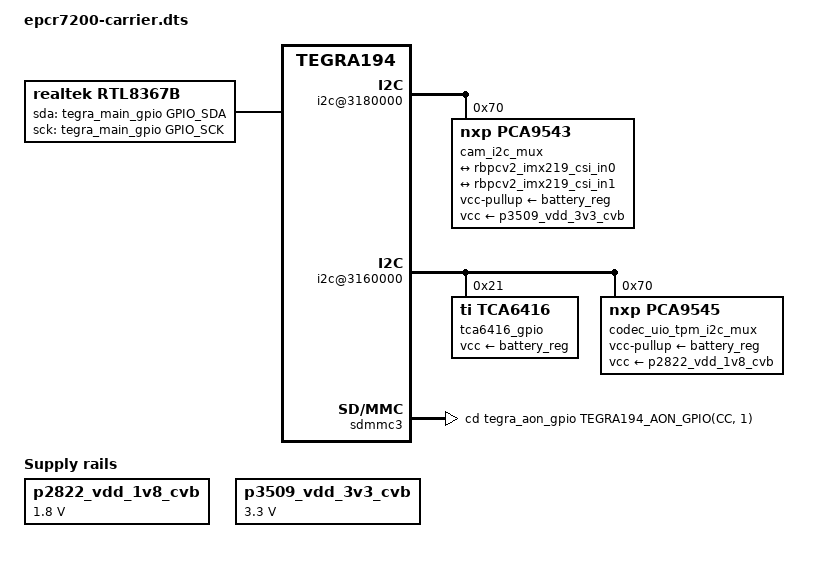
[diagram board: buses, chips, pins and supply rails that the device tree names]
/*
 * Top level DTS file for CVM:P3668-0001 and CVB:P3509-0000.
 *
 * Copyright (c) 2019-2020, NVIDIA CORPORATION.  All rights reserved.
 *
 * This program is free software; you can redistribute it and/or modify
 * it under the terms of the GNU General Public License as published by
 * the Free Software Foundation; version 2 of the License.
 *
 * This program is distributed in the hope that it will be useful, but WITHOUT
 * ANY WARRANTY; without even the implied warranty of MERCHANTABILITY or
 * FITNESS FOR A PARTICULAR PURPOSE.  See the GNU General Public License for
 * more details.
 */

/dts-v1/;
#include "common/tegra194-p3668-common.dtsi"
#include "common/tegra194-p3509-0000-a00.dtsi"

/ {
	nvidia,dtsfilename = __FILE__;
	nvidia,dtbbuildtime = __DATE__, __TIME__;

	compatible = "nvidia,p3449-0000+p3668-0000", "nvidia,p3449-0000+p3668-0001", "nvidia,p3509-0000+p3668-0000", "nvidia,p3509-0000+p3668-0001", "nvidia,tegra194";

	#define GPIO_SDA TEGRA194_MAIN_GPIO(H, 1)
	#define GPIO_SCK TEGRA194_MAIN_GPIO(Q, 2)

	rtl8367 {
		compatible = "realtek,rtl8367b";
		pinctrl-names = "default";
		pinctrl-0 = <&pinctrl_rtl>;
		gpio-sda = <&tegra_main_gpio GPIO_SDA GPIO_ACTIVE_HIGH>; //GPIO3_PH.01
		gpio-sck = <&tegra_main_gpio GPIO_SCK GPIO_ACTIVE_HIGH>; //GPIO3_PQ.02
		realtek,extif0 = <1 0 1 1 1 1 1 1 2>;
	};

	pinmux@2430000 {
		pinctrl_rtl: pinctrl_rtl {
			soc_gpio13_ph1 {
				nvidia,pins = "soc_gpio13_ph1";
				nvidia,function = "rsvd0";
				nvidia,pull = <TEGRA_PIN_PULL_NONE>;
				nvidia,tristate = <TEGRA_PIN_DISABLE>;
				nvidia,enable-input = <TEGRA_PIN_DISABLE>;
				nvidia,lpdr = <TEGRA_PIN_DISABLE>;
			};
			soc_gpio22_pq2 {
				nvidia,pins = "soc_gpio22_pq2";
				nvidia,function = "rsvd0";
				nvidia,pull = <TEGRA_PIN_PULL_NONE>;
				nvidia,tristate = <TEGRA_PIN_DISABLE>;
				nvidia,enable-input = <TEGRA_PIN_DISABLE>;
				nvidia,lpdr = <TEGRA_PIN_DISABLE>;
			};

			spi1_sck_pz3 {
				nvidia,pins = "spi1_sck_pz3";
				nvidia,function = "spi1";
				nvidia,pull = <TEGRA_PIN_PULL_NONE>;
				nvidia,tristate = <TEGRA_PIN_DISABLE>;
				nvidia,enable-input = <TEGRA_PIN_ENABLE>;
			};

			spi1_miso_pz4 {
				nvidia,pins = "spi1_miso_pz4";
				nvidia,function = "spi1";
				nvidia,pull = <TEGRA_PIN_PULL_NONE>;
				nvidia,tristate = <TEGRA_PIN_DISABLE>;
				nvidia,enable-input = <TEGRA_PIN_ENABLE>;
			};

			spi1_mosi_pz5 {
				nvidia,pins = "spi1_mosi_pz5";
				nvidia,function = "spi1";
				nvidia,pull = <TEGRA_PIN_PULL_NONE>;
				nvidia,tristate = <TEGRA_PIN_DISABLE>;
				nvidia,enable-input = <TEGRA_PIN_ENABLE>;
			};

			spi1_cs0_pz6 {
				nvidia,pins = "spi1_cs0_pz6";
				nvidia,function = "spi1";
				nvidia,pull = <TEGRA_PIN_PULL_NONE>;
				nvidia,tristate = <TEGRA_PIN_DISABLE>;
				nvidia,enable-input = <TEGRA_PIN_ENABLE>;
			};

			spi1_cs1_pz7 {
				nvidia,pins = "spi1_cs1_pz7";
				nvidia,function = "spi1";
				nvidia,pull = <TEGRA_PIN_PULL_NONE>;
				nvidia,tristate = <TEGRA_PIN_DISABLE>;
				nvidia,enable-input = <TEGRA_PIN_ENABLE>;
			};

			spi3_sck_py0 {
				nvidia,pins = "spi3_sck_py0";
				nvidia,function = "spi3";
				nvidia,pull = <TEGRA_PIN_PULL_NONE>;
				nvidia,tristate = <TEGRA_PIN_DISABLE>;
				nvidia,enable-input = <TEGRA_PIN_ENABLE>;
			};

			spi3_miso_py1 {
				nvidia,pins = "spi3_miso_py1";
				nvidia,function = "spi3";
				nvidia,pull = <TEGRA_PIN_PULL_NONE>;
				nvidia,tristate = <TEGRA_PIN_DISABLE>;
				nvidia,enable-input = <TEGRA_PIN_ENABLE>;
			};

			spi3_mosi_py2 {
				nvidia,pins = "spi3_mosi_py2";
				nvidia,function = "spi3";
				nvidia,pull = <TEGRA_PIN_PULL_NONE>;
				nvidia,tristate = <TEGRA_PIN_DISABLE>;
				nvidia,enable-input = <TEGRA_PIN_ENABLE>;
			};

			spi3_cs0_py3 {
				nvidia,pins = "spi3_cs0_py3";
				nvidia,function = "spi3";
				nvidia,pull = <TEGRA_PIN_PULL_NONE>;
				nvidia,tristate = <TEGRA_PIN_DISABLE>;
				nvidia,enable-input = <TEGRA_PIN_ENABLE>;
			};

			spi3_cs1_py4 {
				nvidia,pins = "spi3_cs1_py4";
				nvidia,function = "spi3";
				nvidia,pull = <TEGRA_PIN_PULL_NONE>;
				nvidia,tristate = <TEGRA_PIN_DISABLE>;
				nvidia,enable-input = <TEGRA_PIN_ENABLE>;
			};
		};
	};

	#define CAM0_PWDN TEGRA194_MAIN_GPIO(P, 4)
	#define CAM1_PWDN TEGRA194_MAIN_GPIO(P, 5)

	i2c@3180000 {
		cam_i2c_mux: cam_i2c_mux@70 {
			compatible = "nxp,pca9543";
			reg = <0x70>;
			#address-cells = <1>;
			#size-cells = <0>;
			vcc-pullup-supply = <&battery_reg>;
			vcc-supply = <&p3509_vdd_3v3_cvb>;
			status = "okay";

			cmux_i2c_0:cmux_i2c_0@0 {
				reg = <0>;
				#address-cells = <1>;
				#size-cells = <0>;
				i2c-mux,deselect-on-exit;
				cam_imx219_cam0: cam_rbpcv2_imx219_a@10 {
					compatible = "nvidia,imx219";
					/* I2C device address */
					reg = <0x10>;

					/* V4L2 device node location */
					devnode = "video0";

					/* Physical dimensions of sensor */
					physical_w = "3.680";
					physical_h = "2.760";

					sensor_model = "imx219";

					use_sensor_mode_id = "true";
					reset-gpios = <&tegra_main_gpio CAM0_PWDN GPIO_ACTIVE_HIGH>;
					/**
					* ==== Modes ====
					* A modeX node is required to support v4l2 driver
					* implementation with NVIDIA camera software stack
					*
					* == Signal properties ==
					*
					* phy_mode = "";
					* PHY mode used by the MIPI lanes for this device
					*
					* tegra_sinterface = "";
					* CSI Serial interface connected to tegra
					* Incase of virtual HW devices, use virtual
					* For SW emulated devices, use host
					*
					* pix_clk_hz = "";
					* Sensor pixel clock used for calculations like exposure and framerate
					*
					* readout_orientation = "0";
					* Based on camera module orientation.
					* Only change readout_orientation if you specifically
					* Program a different readout order for this mode
					*
					* == Image format Properties ==
					*
					* active_w = "";
					* Pixel active region width
					*
					* active_h = "";
					* Pixel active region height
					*
					* pixel_t = "";
					* The sensor readout pixel pattern
					*
					* line_length = "";
					* Pixel line length (width) for sensor mode.
					*
					* == Source Control Settings ==
					*
					* Gain factor used to convert fixed point integer to float
					* Gain range [min_gain/gain_factor, max_gain/gain_factor]
					* Gain step [step_gain/gain_factor is the smallest step that can be configured]
					* Default gain [Default gain to be initialized for the control.
					*     use min_gain_val as default for optimal results]
					* Framerate factor used to convert fixed point integer to float
					* Framerate range [min_framerate/framerate_factor, max_framerate/framerate_factor]
					* Framerate step [step_framerate/framerate_factor is the smallest step that can be configured]
					* Default Framerate [Default framerate to be initialized for the control.
					*     use max_framerate to get required performance]
					* Exposure factor used to convert fixed point integer to float
					* For convenience use 1 sec = 1000000us as conversion factor
					* Exposure range [min_exp_time/exposure_factor, max_exp_time/exposure_factor]
					* Exposure step [step_exp_time/exposure_factor is the smallest step that can be configured]
					* Default Exposure Time [Default exposure to be initialized for the control.
					*     Set default exposure based on the default_framerate for optimal exposure settings]
					*
					* gain_factor = ""; (integer factor used for floating to fixed point conversion)
					* min_gain_val = ""; (ceil to integer)
					* max_gain_val = ""; (ceil to integer)
					* step_gain_val = ""; (ceil to integer)
					* default_gain = ""; (ceil to integer)
					* Gain limits for mode
					*
					* exposure_factor = ""; (integer factor used for floating to fixed point conversion)
					* min_exp_time = ""; (ceil to integer)
					* max_exp_time = ""; (ceil to integer)
					* step_exp_time = ""; (ceil to integer)
					* default_exp_time = ""; (ceil to integer)
					* Exposure Time limits for mode (sec)
					*
					* framerate_factor = ""; (integer factor used for floating to fixed point conversion)
					* min_framerate = ""; (ceil to integer)
					* max_framerate = ""; (ceil to integer)
					* step_framerate = ""; (ceil to integer)
					* default_framerate = ""; (ceil to integer)
					* Framerate limits for mode (fps)
					*
					* embedded_metadata_height = "";
					* Sensor embedded metadata height in units of rows.
					* If sensor does not support embedded metadata value should be 0.
					*/
					mode0 { /* IMX219_MODE_3264x2464_21FPS */
						mclk_khz = "24000";
						num_lanes = "2";
						tegra_sinterface = "serial_a";
						phy_mode = "DPHY";
						discontinuous_clk = "yes";
						dpcm_enable = "false";
						cil_settletime = "0";

						active_w = "3264";
						active_h = "2464";
						pixel_t = "bayer_rggb";
						readout_orientation = "90";
						line_length = "3448";
						inherent_gain = "1";
						mclk_multiplier = "9.33";
						pix_clk_hz = "182400000";

						gain_factor = "16";
						framerate_factor = "1000000";
						exposure_factor = "1000000";
						min_gain_val = "16"; /* 1.00x */
						max_gain_val = "170"; /* 10.66x */
						step_gain_val = "1";
						default_gain = "16"; /* 1.00x */
						min_hdr_ratio = "1";
						max_hdr_ratio = "1";
						min_framerate = "2000000"; /* 2.0 fps */
						max_framerate = "21000000"; /* 21.0 fps */
						step_framerate = "1";
						default_framerate = "21000000"; /* 21.0 fps */
						min_exp_time = "13"; /* us */
						max_exp_time = "683709"; /* us */
						step_exp_time = "1";
						default_exp_time = "2495"; /* us */

						embedded_metadata_height = "2";
					};
					mode1 { /* IMX219_MODE_3264x1848_28FPS */
						mclk_khz = "24000";
						num_lanes = "2";
						tegra_sinterface = "serial_a";
						phy_mode = "DPHY";
						discontinuous_clk = "yes";
						dpcm_enable = "false";
						cil_settletime = "0";

						active_w = "3264";
						active_h = "1848";
						pixel_t = "bayer_rggb";
						readout_orientation = "90";
						line_length = "3448";
						inherent_gain = "1";
						mclk_multiplier = "9.33";
						pix_clk_hz = "182400000";

						gain_factor = "16";
						framerate_factor = "1000000";
						exposure_factor = "1000000";
						min_gain_val = "16"; /* 1.00x */
						max_gain_val = "170"; /* 10.66x */
						step_gain_val = "1";
						default_gain = "16"; /* 1.00x */
						min_hdr_ratio = "1";
						max_hdr_ratio = "1";
						min_framerate = "2000000"; /* 2.0 fps */
						max_framerate = "28000000"; /* 28.0 fps */
						step_framerate = "1";
						default_framerate = "28000000"; /* 28.0 fps */
						min_exp_time = "13"; /* us */
						max_exp_time = "683709"; /* us */
						step_exp_time = "1";
						default_exp_time = "2495"; /* us */

						embedded_metadata_height = "2";
					};
					mode2 { /* IMX219_MODE_1920x1080_30FPS */
						mclk_khz = "24000";
						num_lanes = "2";
						tegra_sinterface = "serial_a";
						phy_mode = "DPHY";
						discontinuous_clk = "yes";
						dpcm_enable = "false";
						cil_settletime = "0";

						active_w = "1920";
						active_h = "1080";
						pixel_t = "bayer_rggb";
						readout_orientation = "90";
						line_length = "3448";
						inherent_gain = "1";
						mclk_multiplier = "9.33";
						pix_clk_hz = "182400000";

						gain_factor = "16";
						framerate_factor = "1000000";
						exposure_factor = "1000000";
						min_gain_val = "16"; /* 1.00x */
						max_gain_val = "170"; /* 10.66x */
						step_gain_val = "1";
						default_gain = "16"; /* 1.00x */
						min_hdr_ratio = "1";
						max_hdr_ratio = "1";
						min_framerate = "2000000"; /* 2.0 fps */
						max_framerate = "30000000"; /* 30.0 fps */
						step_framerate = "1";
						default_framerate = "30000000"; /* 30.0 fps */
						min_exp_time = "13"; /* us */
						max_exp_time = "683709"; /* us */
						step_exp_time = "1";
						default_exp_time = "2495"; /* us */

						embedded_metadata_height = "2";
					};

					mode3 { /* IMX219_MODE_1640x1232_30FPS */
						mclk_khz = "24000";
						num_lanes = "2";
						tegra_sinterface = "serial_a";
						phy_mode = "DPHY";
						discontinuous_clk = "yes";
						dpcm_enable = "false";
						cil_settletime = "0";

						active_w = "1640";
						active_h = "1232";
						pixel_t = "bayer_rggb";
						readout_orientation = "90";
						line_length = "3448";
						inherent_gain = "1";
						mclk_multiplier = "9.33";
						pix_clk_hz = "182400000";

						gain_factor = "16";
						framerate_factor = "1000000";
						exposure_factor = "1000000";
						min_gain_val = "16"; /* 1.00x */
						max_gain_val = "170"; /* 10.66x */
						step_gain_val = "1";
						default_gain = "16"; /* 1.00x */
						min_hdr_ratio = "1";
						max_hdr_ratio = "1";
						min_framerate = "2000000"; /* 2.0 fps */
						max_framerate = "30000000"; /* 60.0 fps */
						step_framerate = "1";
						default_framerate = "30000000"; /* 60.0 fps */
						min_exp_time = "13"; /* us */
						max_exp_time = "683709"; /* us */
						step_exp_time = "1";
						default_exp_time = "2495"; /* us */

						embedded_metadata_height = "2";
					};

					mode4 { /* IMX219_MODE_1280x720_60FPS */
						mclk_khz = "24000";
						num_lanes = "2";
						tegra_sinterface = "serial_a";
						phy_mode = "DPHY";
						discontinuous_clk = "yes";
						dpcm_enable = "false";
						cil_settletime = "0";

						active_w = "1280";
						active_h = "720";
						pixel_t = "bayer_rggb";
						readout_orientation = "90";
						line_length = "3448";
						inherent_gain = "1";
						mclk_multiplier = "9.33";
						pix_clk_hz = "182400000";

						gain_factor = "16";
						framerate_factor = "1000000";
						exposure_factor = "1000000";
						min_gain_val = "16"; /* 1.00x */
						max_gain_val = "170"; /* 10.66x */
						step_gain_val = "1";
						default_gain = "16"; /* 1.00x */
						min_hdr_ratio = "1";
						max_hdr_ratio = "1";
						min_framerate = "2000000"; /* 2.0 fps */
						max_framerate = "60000000"; /* 60.0 fps */
						step_framerate = "1";
						default_framerate = "60000000"; /* 60.0 fps */
						min_exp_time = "13"; /* us */
						max_exp_time = "683709"; /* us */
						step_exp_time = "1";
						default_exp_time = "2495"; /* us */

						embedded_metadata_height = "2";
					};
					/*
					*mode5 {  IMX219_MODE_1280x720_120FPS
						* mclk_khz = "24000";
						* num_lanes = "2";
						* tegra_sinterface = "serial_a";
						* phy_mode = "DPHY";
						* discontinuous_clk = "yes";
						* dpcm_enable = "false";
						* cil_settletime = "0";

						* active_w = "1280";
						* active_h = "720";
						* pixel_t = "bayer_rggb";
						* readout_orientation = "90";
						* line_length = "3560";
						* inherent_gain = "1";
						* mclk_multiplier = "9.33";
						* pix_clk_hz = "169600000";

						* gain_factor = "16";
						* framerate_factor = "1000000";
						* exposure_factor = "1000000";
						* min_gain_val = "16"; // 1.00x
						* max_gain_val = "170"; // 10.66x
						* step_gain_val = "1";
						* default_gain = "16"; // 1.00x
						* min_hdr_ratio = "1";
						* max_hdr_ratio = "1";
						* min_framerate = "2000000"; // 2.0 fps
						* max_framerate = "120000000"; // 120.0 fps
						* step_framerate = "1";
						* default_framerate = "120000000"; // 120.0 fps
						* min_exp_time = "13"; // us
						* max_exp_time = "683709"; // us
						* step_exp_time = "1";
						* default_exp_time = "2495"; // us

						* embedded_metadata_height = "2";
					*};
					*/

					ports {
						#address-cells = <1>;
						#size-cells = <0>;
						port@0 {
							reg = <0>;
							cam_rbpcv2_imx219_out0: endpoint {
								port-index = <0>;
								bus-width = <2>;
								remote-endpoint = <&rbpcv2_imx219_csi_in0>;
							};
						};
					};
				};
			};
			cmux_i2c_1: cmux_i2c_1@1 {
				reg = <1>;
				#address-cells = <1>;
				#size-cells = <0>;
				i2c-mux,deselect-on-exit;
				cam_imx219_cam1: cam_rbpcv2_imx219_c@10 {
					compatible = "nvidia,imx219";
					/* I2C device address */
					reg = <0x10>;

					/* V4L2 device node location */
					devnode = "video1";

					/* Physical dimensions of sensor */
					physical_w = "3.680";
					physical_h = "2.760";

					sensor_model = "imx219";

					use_sensor_mode_id = "true";
					reset-gpios = <&tegra_main_gpio CAM1_PWDN GPIO_ACTIVE_HIGH>;
					/**
					* ==== Modes ====
					* A modeX node is required to support v4l2 driver
					* implementation with NVIDIA camera software stack
					*
					* == Signal properties ==
					*
					* phy_mode = "";
					* PHY mode used by the MIPI lanes for this device
					*
					* tegra_sinterface = "";
					* CSI Serial interface connected to tegra
					* Incase of virtual HW devices, use virtual
					* For SW emulated devices, use host
					*
					* pix_clk_hz = "";
					* Sensor pixel clock used for calculations like exposure and framerate
					*
					* readout_orientation = "0";
					* Based on camera module orientation.
					* Only change readout_orientation if you specifically
					* Program a different readout order for this mode
					*
					* == Image format Properties ==
					*
					* active_w = "";
					* Pixel active region width
					*
					* active_h = "";
					* Pixel active region height
					*
					* pixel_t = "";
					* The sensor readout pixel pattern
					*
					* line_length = "";
					* Pixel line length (width) for sensor mode.
					*
					* == Source Control Settings ==
					*
					* Gain factor used to convert fixed point integer to float
					* Gain range [min_gain/gain_factor, max_gain/gain_factor]
					* Gain step [step_gain/gain_factor is the smallest step that can be configured]
					* Default gain [Default gain to be initialized for the control.
					*     use min_gain_val as default for optimal results]
					* Framerate factor used to convert fixed point integer to float
					* Framerate range [min_framerate/framerate_factor, max_framerate/framerate_factor]
					* Framerate step [step_framerate/framerate_factor is the smallest step that can be configured]
					* Default Framerate [Default framerate to be initialized for the control.
					*     use max_framerate to get required performance]
					* Exposure factor used to convert fixed point integer to float
					* For convenience use 1 sec = 1000000us as conversion factor
					* Exposure range [min_exp_time/exposure_factor, max_exp_time/exposure_factor]
					* Exposure step [step_exp_time/exposure_factor is the smallest step that can be configured]
					* Default Exposure Time [Default exposure to be initialized for the control.
					*     Set default exposure based on the default_framerate for optimal exposure settings]
					*
					* gain_factor = ""; (integer factor used for floating to fixed point conversion)
					* min_gain_val = ""; (ceil to integer)
					* max_gain_val = ""; (ceil to integer)
					* step_gain_val = ""; (ceil to integer)
					* default_gain = ""; (ceil to integer)
					* Gain limits for mode
					*
					* exposure_factor = ""; (integer factor used for floating to fixed point conversion)
					* min_exp_time = ""; (ceil to integer)
					* max_exp_time = ""; (ceil to integer)
					* step_exp_time = ""; (ceil to integer)
					* default_exp_time = ""; (ceil to integer)
					* Exposure Time limits for mode (sec)
					*
					* framerate_factor = ""; (integer factor used for floating to fixed point conversion)
					* min_framerate = ""; (ceil to integer)
					* max_framerate = ""; (ceil to integer)
					* step_framerate = ""; (ceil to integer)
					* default_framerate = ""; (ceil to integer)
					* Framerate limits for mode (fps)
					*
					* embedded_metadata_height = "";
					* Sensor embedded metadata height in units of rows.
					* If sensor does not support embedded metadata value should be 0.
					*/
					mode0 { /* IMX219_MODE_3264x2464_21FPS */
						mclk_khz = "24000";
						num_lanes = "2";
						tegra_sinterface = "serial_c";
						phy_mode = "DPHY";
						discontinuous_clk = "yes";
						dpcm_enable = "false";
						cil_settletime = "0";

						active_w = "3264";
						active_h = "2464";
						pixel_t = "bayer_rggb";
						readout_orientation = "90";
						line_length = "3448";
						inherent_gain = "1";
						mclk_multiplier = "9.33";
						pix_clk_hz = "182400000";

						gain_factor = "16";
						framerate_factor = "1000000";
						exposure_factor = "1000000";
						min_gain_val = "16"; /* 1.00x */
						max_gain_val = "170"; /* 10.66x */
						step_gain_val = "1";
						default_gain = "16"; /* 1.00x */
						min_hdr_ratio = "1";
						max_hdr_ratio = "1";
						min_framerate = "2000000"; /* 2.0 fps */
						max_framerate = "21000000"; /* 21.0 fps */
						step_framerate = "1";
						default_framerate = "21000000"; /* 21.0 fps */
						min_exp_time = "13"; /* us */
						max_exp_time = "683709"; /* us */
						step_exp_time = "1";
						default_exp_time = "2495"; /* us */

						embedded_metadata_height = "2";
					};
					mode1 { /* IMX219_MODE_3264x1848_28FPS */
						mclk_khz = "24000";
						num_lanes = "2";
						tegra_sinterface = "serial_c";
						phy_mode = "DPHY";
						discontinuous_clk = "yes";
						dpcm_enable = "false";
						cil_settletime = "0";

						active_w = "3264";
						active_h = "1848";
						pixel_t = "bayer_rggb";
						readout_orientation = "90";
						line_length = "3448";
						inherent_gain = "1";
						mclk_multiplier = "9.33";
						pix_clk_hz = "182400000";

						gain_factor = "16";
						framerate_factor = "1000000";
						exposure_factor = "1000000";
						min_gain_val = "16"; /* 1.00x */
						max_gain_val = "170"; /* 10.66x */
						step_gain_val = "1";
						default_gain = "16"; /* 1.00x */
						min_hdr_ratio = "1";
						max_hdr_ratio = "1";
						min_framerate = "2000000"; /* 2.0 fps */
						max_framerate = "28000000"; /* 28.0 fps */
						step_framerate = "1";
						default_framerate = "28000000"; /* 28.0 fps */
						min_exp_time = "13"; /* us */
						max_exp_time = "683709"; /* us */
						step_exp_time = "1";
						default_exp_time = "2495"; /* us */

						embedded_metadata_height = "2";
					};
					mode2 { /* IMX219_MODE_1920x1080_30FPS */
						mclk_khz = "24000";
						num_lanes = "2";
						tegra_sinterface = "serial_c";
						phy_mode = "DPHY";
						discontinuous_clk = "yes";
						dpcm_enable = "false";
						cil_settletime = "0";

						active_w = "1920";
						active_h = "1080";
						pixel_t = "bayer_rggb";
						readout_orientation = "90";
						line_length = "3448";
						inherent_gain = "1";
						mclk_multiplier = "9.33";
						pix_clk_hz = "182400000";

						gain_factor = "16";
						framerate_factor = "1000000";
						exposure_factor = "1000000";
						min_gain_val = "16"; /* 1.00x */
						max_gain_val = "170"; /* 10.66x */
						step_gain_val = "1";
						default_gain = "16"; /* 1.00x */
						min_hdr_ratio = "1";
						max_hdr_ratio = "1";
						min_framerate = "2000000"; /* 2.0 fps */
						max_framerate = "30000000"; /* 30.0 fps */
						step_framerate = "1";
						default_framerate = "30000000"; /* 30.0 fps */
						min_exp_time = "13"; /* us */
						max_exp_time = "683709"; /* us */
						step_exp_time = "1";
						default_exp_time = "2495"; /* us */

						embedded_metadata_height = "2";
					};
					mode3 { /* IMX219_MODE_1640x1232_30FPS */
						mclk_khz = "24000";
						num_lanes = "2";
						tegra_sinterface = "serial_c";
						phy_mode = "DPHY";
						discontinuous_clk = "yes";
						dpcm_enable = "false";
						cil_settletime = "0";

						active_w = "1640";
						active_h = "1232";
						pixel_t = "bayer_rggb";
						readout_orientation = "90";
						line_length = "3448";
						inherent_gain = "1";
						mclk_multiplier = "9.33";
						pix_clk_hz = "182400000";

						gain_factor = "16";
						framerate_factor = "1000000";
						exposure_factor = "1000000";
						min_gain_val = "16"; /* 1.00x */
						max_gain_val = "170"; /* 10.66x */
						step_gain_val = "1";
						default_gain = "16"; /* 1.00x */
						min_hdr_ratio = "1";
						max_hdr_ratio = "1";
						min_framerate = "2000000"; /* 2.0 fps */
						max_framerate = "30000000"; /* 60.0 fps */
						step_framerate = "1";
						default_framerate = "30000000"; /* 60.0 fps */
						min_exp_time = "13"; /* us */
						max_exp_time = "683709"; /* us */
						step_exp_time = "1";
						default_exp_time = "2495"; /* us */

						embedded_metadata_height = "2";
					};
					mode4 { /* IMX219_MODE_1280x720_60FPS */
						mclk_khz = "24000";
						num_lanes = "2";
						tegra_sinterface = "serial_c";
						phy_mode = "DPHY";
						discontinuous_clk = "yes";
						dpcm_enable = "false";
						cil_settletime = "0";

						active_w = "1280";
						active_h = "720";
						pixel_t = "bayer_rggb";
						readout_orientation = "90";
						line_length = "3448";
						inherent_gain = "1";
						mclk_multiplier = "9.33";
						pix_clk_hz = "182400000";

						gain_factor = "16";
						framerate_factor = "1000000";
						exposure_factor = "1000000";
						min_gain_val = "16"; /* 1.00x */
						max_gain_val = "170"; /* 10.66x */
						step_gain_val = "1";
						default_gain = "16"; /* 1.00x */
						min_hdr_ratio = "1";
						max_hdr_ratio = "1";
						min_framerate = "2000000"; /* 2.0 fps */
						max_framerate = "60000000"; /* 60.0 fps */
						step_framerate = "1";
						default_framerate = "60000000"; /* 60.0 fps */
						min_exp_time = "13"; /* us */
						max_exp_time = "683709"; /* us */
						step_exp_time = "1";
						default_exp_time = "2495"; /* us */

						embedded_metadata_height = "2";
					};
					/*
					*mode5 { // IMX219_MODE_1280x720_120FPS
					*	mclk_khz = "24000";
					*	num_lanes = "2";
					*	tegra_sinterface = "serial_c";
					*	phy_mode = "DPHY";
					*	discontinuous_clk = "yes";
					*	dpcm_enable = "false";
					*	cil_settletime = "0";

					*	active_w = "1280";
					*	active_h = "720";
					*	pixel_t = "bayer_rggb";
					*	readout_orientation = "90";
					*	line_length = "3560";
					*	inherent_gain = "1";
					*	mclk_multiplier = "9.33";
					*	pix_clk_hz = "169600000";

					*	gain_factor = "16";
					*	framerate_factor = "1000000";
					*	exposure_factor = "1000000";
					*	min_gain_val = "16"; // 1.00x
					*	max_gain_val = "170"; // 10.66x
					*	step_gain_val = "1";
					*	default_gain = "16"; // 1.00x
					*	min_hdr_ratio = "1";
					*	max_hdr_ratio = "1";
					*	min_framerate = "2000000"; // 2.0 fps
					*	max_framerate = "120000000"; // 120.0 fps
					*	step_framerate = "1";
					*	default_framerate = "120000000"; // 120.0 fps
					*	min_exp_time = "13"; // us
					*	max_exp_time = "683709"; // us
					*	step_exp_time = "1";
					*	default_exp_time = "2495"; // us

					*	embedded_metadata_height = "2";
					*};
					*/

					ports {
						#address-cells = <1>;
						#size-cells = <0>;
						port@0 {
							reg = <0>;
							cam_rbpcv2_imx219_out1: endpoint {
								status = "okay";
								port-index = <2>;
								bus-width = <2>;
								remote-endpoint = <&rbpcv2_imx219_csi_in1>;
							};
						};
					};
				};
			};
		};
	};

	i2c@3160000 {
		tca6416_gpio: tca6416_gpio@21 {
			compatible = "ti,tca6416";
			reg = <0x21>;
			gpio-controller;
			#gpio-cells = <0x2>;
			vcc-supply = <&battery_reg>;
		};

		codec_uio_tpm_i2c_mux: codec_uio_tpm_i2c_mux@70 {
			compatible = "nxp,pca9545";
			reg = <0x70>;
			#address-cells = <1>;
			#size-cells = <0>;
			vcc-pullup-supply = <&battery_reg>;
			vcc-supply = <&p2822_vdd_1v8_cvb>;
			status = "okay";
			codec_i2c_0: codec_i2c@0 {
				reg = <0>;
				i2c-mux,deselect-on-exit;
				#address-cells = <1>;
				#size-cells = <0>;
			};
			uio_i2c_1: uio_i2c@1 {
				reg = <1>;
				i2c-mux,deselect-on-exit;
				#address-cells = <1>;
				#size-cells = <0>;
				rt5640: rt5640@1c {
					compatible = "realtek,rt5640";
					reg = <0x1c>;
					clocks = <&bpmp_clks TEGRA194_CLK_AUD_MCLK>;
					clock-names = "mclk";
					status = "okay";
				};
			};
			tpm_i2c_3: tpm_i2c@3 {
				reg = <3>;
				i2c-mux,deselect-on-exit;
				#address-cells = <1>;
				#size-cells = <0>;
				st33htph: st33htph@2e {
					compatible = "tcg,tpm-tis-i2c";
					status = "okay";
					reg = <0x2e>;
					clock-frequency = <100000>;
				};
			};
		};
	};

	tegra_sound: sound {
		compatible = "nvidia,tegra186-ape";
		nvidia,model = "tegra-snd-t186ref-mobile-rt5640";
		status = "okay";
		nvidia,audio-routing =
			"x Headphone", "x HPOL",
			"x Headphone", "x HPOR",
			"x IN1P", "x Mic",
			"x Mic", "x MICBIAS1";

		nvidia,dai-link-3 {
			link-name = "rt5640-playback";
			cpu-dai = <&tegra_i2s3>;
			codec-dai = <&rt5640>;
			cpu-dai-name = "I2S3";
			codec-dai-name = "rt5640-aif1";
			format = "i2s";
			bit-format = "s16_le";
			srate = <48000>;
			num-channel = <2>;
			name-prefix = "x";
		};

		nvidia,dai-link-5 {
			name-prefix = "m";
		};
	};

	sdmmc3: sdhci@3440000{
		cd-gpios = <&tegra_aon_gpio TEGRA194_AON_GPIO(CC, 1) 0>; //GPIO3_PCC.01
		status = "okay";
	};

	fixed-regulators {
		p2822_vdd_1v8_cvb: regulator@102 {
			compatible = "regulator-fixed";
			reg = <102>;
			regulator-name = "vdd-1v8-cvb";
			regulator-min-microvolt = <1800000>;
			regulator-max-microvolt = <1800000>;
		};
		p3509_vdd_3v3_cvb: regulator@101 {
			compatible = "regulator-fixed";
			reg = <101>;
			regulator-name = "vdd-3v3-cvb";
			regulator-min-microvolt = <3300000>;
			regulator-max-microvolt = <3300000>;
		};
	};
};

/ {
	tcp: tegra-camera-platform {
		modules {
			cam_module0: module0 {
				cam_module0_drivernode0: drivernode0 {
					devname = "imx219 15-0010";
					proc-device-tree = "/proc/device-tree/i2c@3180000/cam_i2c_mux@70/cmux_i2c_0@0/cam_rbpcv2_imx219_a@10";
				};
			};
			cam_module1: module1 {
				cam_module1_drivernode0: drivernode0 {
					devname = "imx219 16-0010";
					proc-device-tree = "/proc/device-tree/i2c@3180000/cam_i2c_mux@70/cmux_i2c_1@1/cam_rbpcv2_imx219_c@10";
				};
			};
		};
	};
};
